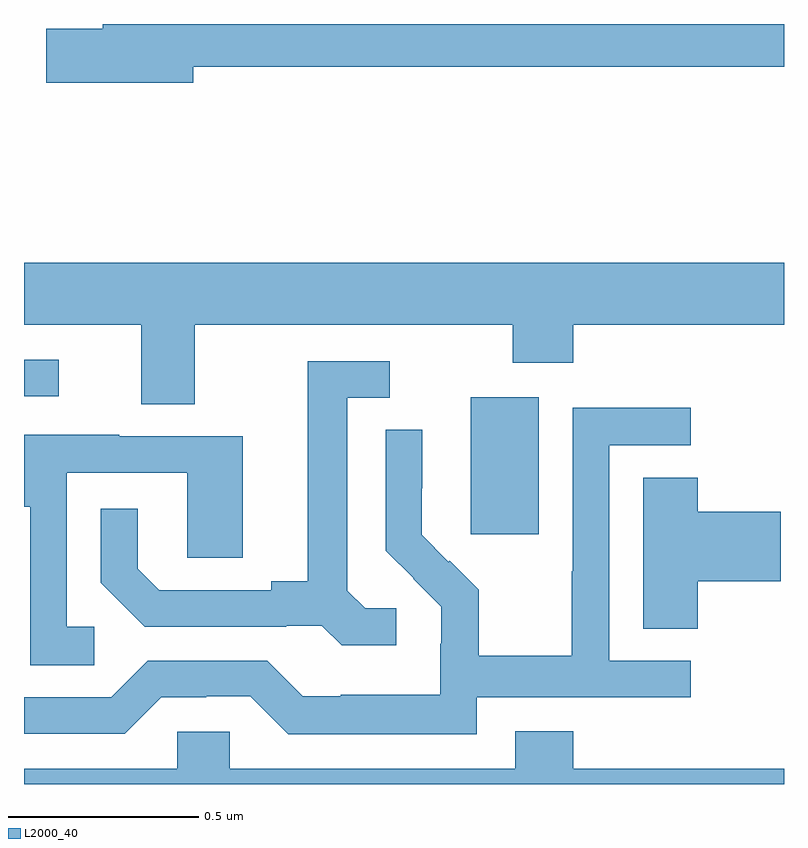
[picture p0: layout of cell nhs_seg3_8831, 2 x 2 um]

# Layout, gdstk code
import gdstk
lib = gdstk.Library(unit=1e-6, precision=1e-09)
def R(c, l, rs):  # rectangles x0, y0, x1, y1
    for r in rs: c.add(gdstk.rectangle(r[:2], r[2:], *l))
def P(c, l, *ps):  # polygons
    for p in ps: c.add(gdstk.Polygon(p, *l))
L2000_40 = (2000, 40)

nhs_seg3_8831 = lib.new_cell('nhs_seg3_8831')
R(nhs_seg3_8831, L2000_40, [(222.176,675.057,222.355,675.418), (221,675.42,221.092,675.516)])
P(nhs_seg3_8831, L2000_40, [(221.446,676.288),(223,676.288),(223,676.4),(221.207,676.4),(221.207,676.388),(221.058,676.388),(221.058,676.246),(221.446,676.246)],
  [(221.449,675.608),(222.286,675.608),(222.286,675.509),(222.446,675.509),(222.446,675.608),(223,675.608),(223,675.772),(221,675.772),(221,675.608),(221.309,675.608),(221.309,675.4),(221.449,675.4)],
  [(221.98,674.862),(221.898,674.862),(221.851,674.909),(221.851,675.417),(221.962,675.417),(221.962,675.513),(221.747,675.513),(221.747,674.933),(221.651,674.933),(221.651,674.91),(221.356,674.91),(221.299,674.967),(221.299,675.124),(221.202,675.124),(221.202,674.93),(221.318,674.814),(221.69,674.814),(221.69,674.817),(221.784,674.817),(221.836,674.765),(221.98,674.765)],
  [(222.192,674.628),(222.754,674.628),(222.754,674.724),(222.54,674.724),(222.54,675.291),(222.754,675.291),(222.754,675.39),(222.444,675.39),(222.444,674.96),(222.442,674.96),(222.442,674.737),(222.197,674.737),(222.197,674.911),(222.12,674.988),(222.117,674.985),(222.047,675.056),(222.047,675.178),(222.048,675.178),(222.048,675.332),(221.952,675.332),(221.952,675.014),(222.025,674.941),(222.024,674.94),(222.098,674.866),(222.098,674.769),(222.096,674.769),(222.096,674.635),(221.833,674.635),(221.833,674.631),(221.733,674.631),(221.64,674.724),(221.325,674.724),(221.229,674.628),(221,674.628),(221,674.532),(221.265,674.532),(221.361,674.628),(221.48,674.628),(221.48,674.631),(221.595,674.631),(221.695,674.531),(222.192,674.531)],
  [(221.185,674.814),(221.112,674.814),(221.112,675.219),(221.43,675.219),(221.43,674.995),(221.575,674.995),(221.575,675.315),(221.251,675.315),(221.251,675.319),(221,675.319),(221,675.129),(221.016,675.129),(221.016,674.713),(221.185,674.713)],
  [(222.773,674.933),(222.991,674.933),(222.991,675.116),(222.773,675.116),(222.773,675.206),(222.629,675.206),(222.629,674.809),(222.773,674.809)],
  [(223,674.44),(222.446,674.44),(222.446,674.539),(222.293,674.539),(222.293,674.44),(221.541,674.44),(221.541,674.538),(221.403,674.538),(221.403,674.44),(221,674.44),(221,674.4),(223,674.4)])

lib.write_gds('nhs_seg3_8831.gds')
